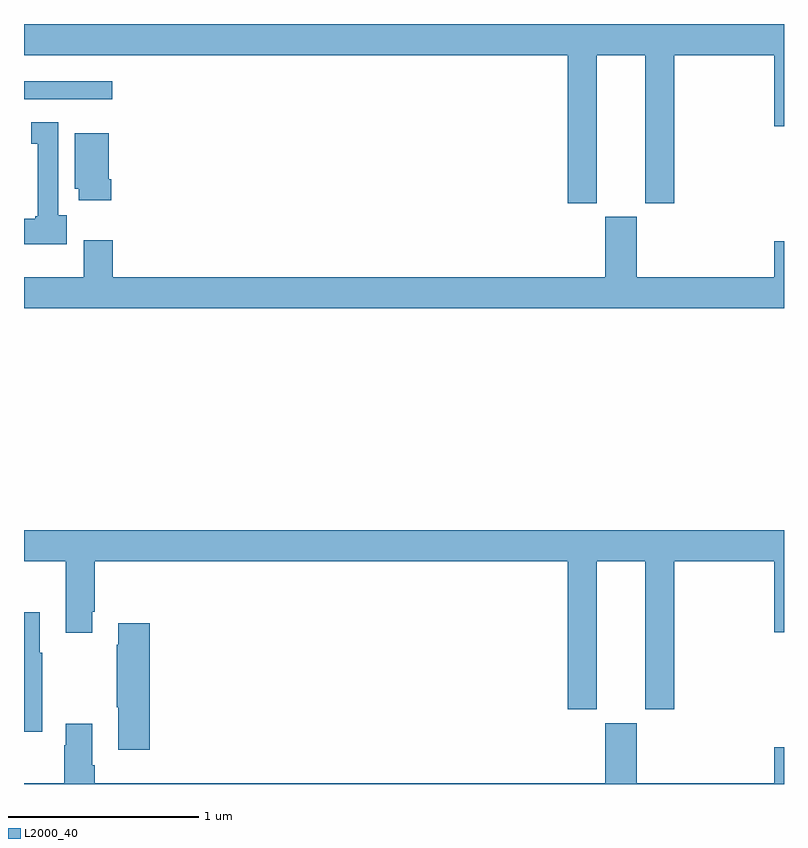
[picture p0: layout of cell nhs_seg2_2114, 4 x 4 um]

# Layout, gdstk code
import gdstk
lib = gdstk.Library(unit=1e-6, precision=1e-09)
def R(c, l, rs):  # rectangles x0, y0, x1, y1
    for r in rs: c.add(gdstk.rectangle(r[:2], r[2:], *l))
def P(c, l, *ps):  # polygons
    for p in ps: c.add(gdstk.Polygon(p, *l))
L2000_40 = (2000, 40)

nhs_seg2_2114 = lib.new_cell('nhs_seg2_2114')
R(nhs_seg2_2114, L2000_40, [(221,647.403,221.464,647.5)])
P(nhs_seg2_2114, L2000_40, [(221,647.636),(223.862,647.636),(223.862,646.857),(224.014,646.857),(224.014,647.636),(224.27,647.636),(224.27,646.857),(224.423,646.857),(224.423,647.636),(224.948,647.636),(224.948,647.262),(225,647.262),(225,647.8),(221,647.8)],
  [(221.224,646.794),(221.179,646.794),(221.179,647.284),(221.039,647.284),(221.039,647.171),(221.072,647.171),(221.072,646.788),(221.059,646.788),(221.059,646.774),(221,646.774),(221,646.64),(221.224,646.64)],
  [(221.459,646.984),(221.446,646.984),(221.446,647.224),(221.267,647.224),(221.267,646.932),(221.288,646.932),(221.288,646.872),(221.459,646.872)],
  [(225,646.657),(224.948,646.657),(224.948,646.468),(224.224,646.468),(224.224,646.785),(224.06,646.785),(224.06,646.468),(221.468,646.468),(221.468,646.663),(221.315,646.663),(221.315,646.468),(221,646.468),(221,646.304),(225,646.304)],
  [(224.014,644.972),(224.27,644.972),(224.27,644.193),(224.423,644.193),(224.423,644.972),(224.948,644.972),(224.948,644.598),(225,644.598),(225,645.136),(221,645.136),(221,644.972),(221.219,644.972),(221.219,644.595),(221.359,644.595),(221.359,644.707),(221.372,644.707),(221.372,644.972),(223.862,644.972),(223.862,644.193),(224.014,644.193)],
  [(221.095,644.491),(221.083,644.491),(221.083,644.704),(221,644.704),(221,644.075),(221.095,644.075)],
  [(221.663,644.647),(221.495,644.647),(221.495,644.534),(221.488,644.534),(221.488,644.203),(221.495,644.203),(221.495,643.98),(221.663,643.98)],
  [(225,643.993),(224.948,643.993),(224.948,643.804),(224.224,643.804),(224.224,644.121),(224.06,644.121),(224.06,643.804),(221.372,643.804),(221.372,643.9),(221.359,643.9),(221.359,644.116),(221.219,644.116),(221.219,644.003),(221.212,644.003),(221.212,643.804),(221,643.804),(221,643.8),(225,643.8)])

lib.write_gds('nhs_seg2_2114.gds')
